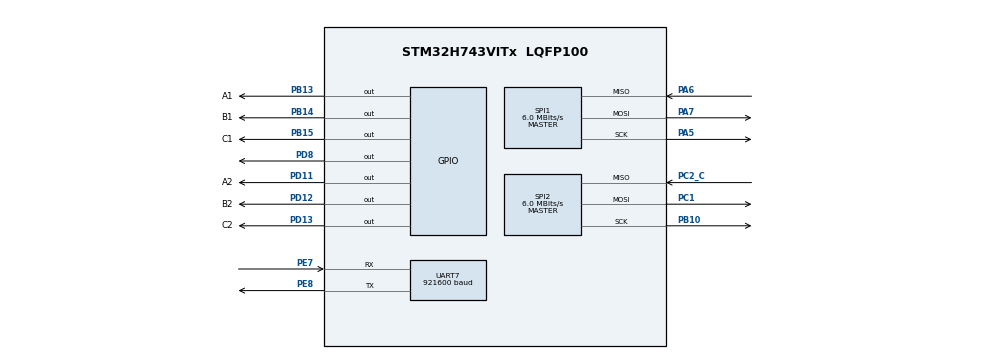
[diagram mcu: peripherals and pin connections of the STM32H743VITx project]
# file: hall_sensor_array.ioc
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CORTEX_M7.default_mode_Activation=1
Dma.Request0=UART7_TX
Dma.Request1=SPI1_RX
Dma.Request2=SPI2_RX
Dma.SPI1_RX.1.Direction=DMA_PERIPH_TO_MEMORY
Dma.SPI1_RX.1.EventEnable=DISABLE
Dma.SPI1_RX.1.FIFOMode=DMA_FIFOMODE_DISABLE
Dma.SPI1_RX.1.Instance=DMA1_Stream0
Dma.SPI1_RX.1.MemDataAlignment=DMA_MDATAALIGN_BYTE
Dma.SPI1_RX.1.MemInc=DMA_MINC_ENABLE
Dma.SPI1_RX.1.Mode=DMA_NORMAL
Dma.SPI1_RX.1.PeriphDataAlignment=DMA_PDATAALIGN_BYTE
Dma.SPI1_RX.1.PeriphInc=DMA_PINC_DISABLE
Dma.SPI1_RX.1.Polarity=HAL_DMAMUX_REQ_GEN_RISING
Dma.SPI1_RX.1.Priority=DMA_PRIORITY_LOW
Dma.SPI1_RX.1.RequestNumber=1
Dma.SPI1_RX.1.SignalID=NONE
Dma.SPI1_RX.1.SyncEnable=DISABLE
Dma.SPI1_RX.1.SyncPolarity=HAL_DMAMUX_SYNC_NO_EVENT
Dma.SPI1_RX.1.SyncRequestNumber=1
Dma.SPI1_RX.1.SyncSignalID=NONE
Dma.SPI2_RX.2.Direction=DMA_PERIPH_TO_MEMORY
Dma.SPI2_RX.2.EventEnable=DISABLE
Dma.SPI2_RX.2.FIFOMode=DMA_FIFOMODE_DISABLE
Dma.SPI2_RX.2.Instance=DMA1_Stream1
Dma.SPI2_RX.2.MemDataAlignment=DMA_MDATAALIGN_BYTE
Dma.SPI2_RX.2.MemInc=DMA_MINC_ENABLE
Dma.SPI2_RX.2.Mode=DMA_NORMAL
Dma.SPI2_RX.2.PeriphDataAlignment=DMA_PDATAALIGN_BYTE
Dma.SPI2_RX.2.PeriphInc=DMA_PINC_DISABLE
Dma.SPI2_RX.2.Polarity=HAL_DMAMUX_REQ_GEN_RISING
Dma.SPI2_RX.2.Priority=DMA_PRIORITY_LOW
Dma.SPI2_RX.2.RequestNumber=1
Dma.SPI2_RX.2.SignalID=NONE
Dma.SPI2_RX.2.SyncEnable=DISABLE
Dma.SPI2_RX.2.SyncPolarity=HAL_DMAMUX_SYNC_NO_EVENT
Dma.SPI2_RX.2.SyncRequestNumber=1
Dma.SPI2_RX.2.SyncSignalID=NONE
Dma.UART7_TX.0.Direction=DMA_MEMORY_TO_PERIPH
Dma.UART7_TX.0.EventEnable=DISABLE
Dma.UART7_TX.0.FIFOMode=DMA_FIFOMODE_DISABLE
Dma.UART7_TX.0.Instance=DMA1_Stream2
Dma.UART7_TX.0.MemDataAlignment=DMA_MDATAALIGN_BYTE
Dma.UART7_TX.0.MemInc=DMA_MINC_ENABLE
Dma.UART7_TX.0.Mode=DMA_NORMAL
Dma.UART7_TX.0.PeriphDataAlignment=DMA_PDATAALIGN_BYTE
Dma.UART7_TX.0.PeriphInc=DMA_PINC_DISABLE
Dma.UART7_TX.0.Polarity=HAL_DMAMUX_REQ_GEN_RISING
Dma.UART7_TX.0.Priority=DMA_PRIORITY_LOW
Dma.UART7_TX.0.RequestNumber=1
Dma.UART7_TX.0.SignalID=NONE
Dma.UART7_TX.0.SyncEnable=DISABLE
Dma.UART7_TX.0.SyncPolarity=HAL_DMAMUX_SYNC_NO_EVENT
Dma.UART7_TX.0.SyncRequestNumber=1
Dma.UART7_TX.0.SyncSignalID=NONE
Mcu.Family=STM32H7
Mcu.Name=STM32H743VITx
Mcu.Package=LQFP100
NVIC.DMA1_Stream0_IRQn=true\:0\:0\:false\:false\:true\:false\:true\:true
NVIC.DMA1_Stream1_IRQn=true\:0\:0\:false\:false\:true\:false\:true\:true
NVIC.DMA1_Stream2_IRQn=true\:0\:0\:false\:false\:true\:false\:true\:true
NVIC.PriorityGroup=NVIC_PRIORITYGROUP_4
NVIC.SPI1_IRQn=true\:0\:0\:false\:false\:true\:false\:true\:true
NVIC.SPI2_IRQn=true\:0\:0\:false\:false\:true\:false\:true\:true
NVIC.UART7_IRQn=true\:0\:0\:false\:false\:true\:true\:true\:true
PA13\ (JTMS/SWDIO).Mode=Serial_Wire
PA13\ (JTMS/SWDIO).Signal=DEBUG_JTMS-SWDIO
PA14\ (JTCK/SWCLK).Mode=Serial_Wire
PA14\ (JTCK/SWCLK).Signal=DEBUG_JTCK-SWCLK
PA5.GPIO_Speed=GPIO_SPEED_FREQ_VERY_HIGH
PA5.Mode=Full_Duplex_Master
PA5.Signal=SPI1_SCK
PA6.GPIO_Speed=GPIO_SPEED_FREQ_VERY_HIGH
PA6.Mode=Full_Duplex_Master
PA6.Signal=SPI1_MISO
PA7.GPIO_Speed=GPIO_SPEED_FREQ_VERY_HIGH
PA7.Mode=Full_Duplex_Master
PA7.Signal=SPI1_MOSI
PB10.GPIO_Speed=GPIO_SPEED_FREQ_VERY_HIGH
PB10.Mode=Full_Duplex_Master
PB10.Signal=SPI2_SCK
PB13.GPIO_Label=A1
PB13.Signal=GPIO_Output
PB14.GPIO_Label=B1
PB14.Signal=GPIO_Output
PB15.GPIO_Label=C1
PB15.Signal=GPIO_Output
PC1.GPIO_Speed=GPIO_SPEED_FREQ_VERY_HIGH
PC1.Mode=Full_Duplex_Master
PC1.Signal=SPI2_MOSI
PC2_C.GPIO_Speed=GPIO_SPEED_FREQ_VERY_HIGH
PC2_C.Mode=Full_Duplex_Master
PC2_C.Signal=SPI2_MISO
PD11.GPIO_Label=A2
PD11.GPIO_PuPd=GPIO_PULLDOWN
PD11.Signal=GPIO_Output
PD12.GPIO_Label=B2
PD12.GPIO_PuPd=GPIO_PULLDOWN
PD12.Signal=GPIO_Output
PD13.GPIO_Label=C2
PD13.GPIO_PuPd=GPIO_PULLDOWN
PD13.Signal=GPIO_Output
PD8.Signal=GPIO_Output
PE7.Mode=Asynchronous
PE7.Signal=UART7_RX
PE8.Mode=Asynchronous
PE8.Signal=UART7_TX
PH0-OSC_IN\ (PH0).Mode=HSE-External-Oscillator
PH0-OSC_IN\ (PH0).Signal=RCC_OSC_IN
PH1-OSC_OUT\ (PH1).Mode=HSE-External-Oscillator
PH1-OSC_OUT\ (PH1).Signal=RCC_OSC_OUT
ProjectManager.HeapSize=0x200
ProjectManager.StackSize=0x400
ProjectManager.TargetToolchain=STM32CubeIDE
RCC.ADCFreq_Value=129000000
RCC.APB1Freq_Value=120000000
RCC.APB2Freq_Value=120000000
RCC.APB3Freq_Value=120000000
RCC.APB4Freq_Value=120000000
RCC.CKPERSourceSelection=RCC_CLKPSOURCE_HSE
RCC.CortexFreq_Value=480000000
RCC.D1PPRE=RCC_APB3_DIV2
RCC.D2PPRE1=RCC_APB1_DIV2
RCC.D2PPRE2=RCC_APB2_DIV2
RCC.D3PPRE=RCC_APB4_DIV2
RCC.DIVM1=4
RCC.DIVN1=60
RCC.DIVQ1=5
RCC.HCLKFreq_Value=240000000
RCC.HPRE=RCC_HCLK_DIV2
RCC.PLL2FRACN=0
RCC.PLL3FRACN=0
RCC.PLLFRACN=0
RCC.SYSCLKFreq_VALUE=480000000
RCC.SYSCLKSource=RCC_SYSCLKSOURCE_PLLCLK
RCC.USBFreq_Value=192000000
SPI1.BaudRatePrescaler=SPI_BAUDRATEPRESCALER_32
SPI1.CalculateBaudRate=6.0 MBits/s
SPI1.DataSize=SPI_DATASIZE_8BIT
SPI1.Direction=SPI_DIRECTION_2LINES
SPI1.Mode=SPI_MODE_MASTER
SPI1.VirtualType=VM_MASTER
SPI2.BaudRatePrescaler=SPI_BAUDRATEPRESCALER_32
SPI2.CalculateBaudRate=6.0 MBits/s
SPI2.DataSize=SPI_DATASIZE_8BIT
SPI2.Direction=SPI_DIRECTION_2LINES
SPI2.Mode=SPI_MODE_MASTER
SPI2.VirtualType=VM_MASTER
TIM1.Prescaler=119
UART7.BaudRate=921600
VP_MEMORYMAP_VS_MEMORYMAP.Mode=CurAppReg
VP_TIM1_VS_ClockSourceINT.Mode=Internal
board=custom

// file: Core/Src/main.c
/* USER CODE BEGIN Header */
/* USER CODE END Header */
#include "main.h"

/* USER CODE BEGIN Includes */
#include <TMAG5170.h>
#include <stdio.h>
#include <string.h>
/* USER CODE END Includes */

/* USER CODE BEGIN PTD */
typedef struct { err_t err; uint32_t tx, rx; } fail_info_t;
/* USER CODE END PTD */

/* USER CODE BEGIN PD */
#define N_BUS        2                  /* SPI1, SPI2 */
#define N_PER_BUS    8                  /* mỗi decoder 3->8 chọn 8 cảm biến */
#define N_SENSOR     (N_BUS * N_PER_BUS)
#define TX_BUF_SIZE  512                /* dòng dài nhất ~403 byte */

/* USER CODE END PD */

SPI_HandleTypeDef hspi1;
SPI_HandleTypeDef hspi2;
DMA_HandleTypeDef hdma_spi1_rx;
DMA_HandleTypeDef hdma_spi2_rx;

TIM_HandleTypeDef htim1;

UART_HandleTypeDef huart7;
DMA_HandleTypeDef hdma_uart7_tx;

/* USER CODE BEGIN PV */
static const struct { GPIO_TypeDef *port; uint16_t pin; } cs_pin[2][3] = {
    { { A1_GPIO_Port, A1_Pin }, { B1_GPIO_Port, B1_Pin }, { C1_GPIO_Port, C1_Pin } },   /* decoder 1: A1, B1, C1 */
    { { A2_GPIO_Port, A2_Pin }, { B2_GPIO_Port, B2_Pin }, { C2_GPIO_Port, C2_Pin } },   /* decoder 2: A2, B2, C2 */
};
static uint8_t cs_addr[2];
static TMAG5170_t tmag[2];          /* 1 struct / bus SPI (16 cảm biến cùng cấu hình) */
static uint8_t    want_addr[2];     /* cảm biến đang nhắm tới trên mỗi bus */
static bool       cs_active[2];     /* true = đang giữ CS của want_addr ở mức thấp */
static int16_t    raw_code[N_SENSOR][3];
float Bx[4][4], By[4][4], Bz[4][4];     /* từ trường (mT); cảm biến i -> [i/4][i%4], i = bus*8 + addr */
static uint16_t err_mask;               /* bit i = cảm biến i đọc lỗi ở lần quét gần nhất */
static uint32_t frame_no;

static fail_info_t init_info[N_SENSOR], scan_info[N_SENSOR];
static fail_info_t *cur_info = init_info;

uint32_t t0, scan_us;

static char     tx_buf[2][TX_BUF_SIZE] __attribute__((aligned(32)));
static uint8_t  tx_sel;                 /* buffer sẽ được định dạng ở lần gọi kế tiếp */
static volatile uint8_t tx_busy;        /* 1 = DMA đang gửi */
static uint32_t tx_timeouts, tx_drops, tx_polled;  /* tx_timeouts tăng => ngắt UART7 chưa bật (xem ghi chú) */
volatile uint32_t prof_scan_us, prof_send_us, prof_cycle_us;
/* USER CODE END PV */

void SystemClock_Config(void);
static void MPU_Config(void);
static void MX_GPIO_Init(void);
static void MX_DMA_Init(void);
static void MX_SPI1_Init(void);
static void MX_SPI2_Init(void);
static void MX_UART7_Init(void);
static void MX_TIM1_Init(void);
/* USER CODE BEGIN PFP */
void Write_addr(uint8_t bus, uint8_t addr);
uint8_t step(uint8_t bus);
uint8_t Sensor_select(uint8_t bus, uint8_t addr);
void Decoder_Init(void);

/* USER CODE END PFP */

/* USER CODE BEGIN 0 */
static inline uint8_t gray_of_step(uint8_t s) { return (uint8_t)((s ^ (s >> 1)) & 7u); }
static inline uint8_t step_of_gray(uint8_t g) { return (uint8_t)((g ^ (g >> 1) ^ (g >> 2)) & 7u); }

void Write_addr(uint8_t bus, uint8_t addr)
{
    for (int k = 0; k < 3; k++)         /* chân không đổi được ghi lại cùng mức -> không có chuyển mạch */
        HAL_GPIO_WritePin(cs_pin[bus][k].port, cs_pin[bus][k].pin,
                          (addr & (1u << k)) ? GPIO_PIN_SET : GPIO_PIN_RESET);
    cs_addr[bus] = (uint8_t)(addr & 7u);
}

void Decoder_Init(void)
{
	for (uint8_t b = 0; b < 2; b++) Write_addr(b, 0);
}

uint8_t step(uint8_t bus)
{
    uint8_t s = step_of_gray(cs_addr[bus]);
    uint8_t a = gray_of_step((uint8_t)((s + 1u) & 7u));
    Write_addr(bus, a);
    return a;
}

uint8_t Sensor_select(uint8_t bus, uint8_t addr)
{
	   addr &= 7u;
	   uint8_t steps = 0;
	   while (cs_addr[bus] != addr)
	   {
		   step(bus);
		   steps++;
	   }
	   return steps;
}

static void cs_ring(uint8_t bus, bool select)
{
	if (select) {
		Sensor_select(bus, want_addr[bus]);
		cs_active[bus] = true;
	} else if (cs_active[bus]) {
		step(bus);
		cs_active[bus] = false;
	}
}

static void cs_bus0(bool select) { cs_ring(0, select); }
static void cs_bus1(bool select) { cs_ring(1, select); }

static void us_timer_init(void)
{
    uint32_t clk = HAL_RCC_GetPCLK2Freq();                         /* APB2 */
    if (LL_RCC_GetAPB2Prescaler() != LL_RCC_APB2_DIV_1) clk *= 2u; /* clock timer = 2 x APB2 (TIMPRE = 0, mặc định) */
    __HAL_TIM_SET_PRESCALER(&htim1, clk / 1000000u - 1u);
    htim1.Instance->EGR = TIM_EGR_UG;                              /* nạp PSC ngay (đồng thời reset bộ đếm) */
    HAL_TIM_Base_Start(&htim1);                                    /* ARR = 65535 -> tràn mỗi 65.5 ms */
}

static void delay_us(uint16_t us)                                  /* us <= 60000 */
{
    uint32_t tick0 = HAL_GetTick();
    uint16_t t0 = (uint16_t)__HAL_TIM_GET_COUNTER(&htim1);
    while ((uint16_t)((uint16_t)__HAL_TIM_GET_COUNTER(&htim1) - t0) < us) {
        if ((HAL_GetTick() - tick0) > 5u) break;                   /* TIM1 không chạy (chưa bật clock) -> không treo */
    }
}

static void uart_puts(const char *s)
{
    HAL_UART_Transmit(&huart7, (uint8_t *)s, (uint16_t)strlen(s), 100);
}

/* ---------- Quét theo vòng ----------
 * Mỗi cảm biến nhận ĐÚNG 1 khung SPI cho mỗi vòng: sau khung, cs(false) bước sang cảm biến kế và
 * chính cảm biến đó được chọn cho khung kế tiếp -> không có cảm biến nào bị kéo CS mà không có clock
 * (tránh cờ FRAME_STAT của TMAG5170). Một vòng luôn đủ 8 khung nên con trỏ decoder quay về chỗ cũ. */
typedef err_t (*lap_job_t)(TMAG5170_t *d, uint8_t idx, uint8_t arg);

static uint16_t ring_lap(uint8_t bus, lap_job_t job, uint8_t arg)
{
    uint16_t fail = 0;                                        /* bit i = cảm biến i lỗi */
    uint8_t  s0   = step_of_gray(cs_addr[bus]);               /* bắt đầu từ chỗ con trỏ đang đứng */

    for (uint8_t k = 0; k < N_PER_BUS; k++) {
        uint8_t addr = gray_of_step((uint8_t)((s0 + k) & 7u));
        uint8_t idx  = (uint8_t)(bus * N_PER_BUS + addr);     /* idx = bus*8 + địa chỉ decoder */
        want_addr[bus] = addr;
        if (job(&tmag[bus], idx, arg) != TMAG_OK) fail |= (uint16_t)(1u << idx);
    }
    return fail;
}

static err_t job_init   (TMAG5170_t *d, uint8_t idx, uint8_t step) { (void)idx; return TMAG5170_InitStep(d, step); }
static err_t job_trigger(TMAG5170_t *d, uint8_t idx, uint8_t arg)  { (void)idx; (void)arg; return TMAG5170_Trigger(d); }
static err_t job_axis   (TMAG5170_t *d, uint8_t idx, uint8_t axis) { return TMAG5170_ReadAxis(d, axis, &raw_code[idx][axis]); }

/* Khởi tạo 16 cảm biến: từng bước cấu hình chạy hết một vòng trên bus 0 rồi bus 1 */
static void TMAG5170_InitAll(void)
{
    uint16_t fail = 0;
    char msg[32];

    HAL_Delay(2);                                             /* > tstart_power_up (tối đa 500 us) */
    for (uint8_t b = 0; b < N_BUS; b++)
        TMAG5170_InitBegin(&tmag[b], b ? &hspi2 : &hspi1, b ? cs_bus1 : cs_bus0, TRIGGER);

    for (uint8_t step = 0; step < TMAG5170_INIT_STEPS; step++)
        for (uint8_t b = 0; b < N_BUS; b++)
            fail |= ring_lap(b, job_init, step);

    if (fail) {
        snprintf(msg, sizeof msg, "INIT_FAIL,%04X\r\n", (unsigned)fail);   /* bit i = cảm biến i */
        uart_puts(msg);
    }
}

/* Quét 16 cảm biến -> Bx, By, Bz (mT). Cảm biến lỗi: giữ giá trị cũ, bật bit trong err_mask.
 * Vòng 1: trigger cả 16 cảm biến; chờ chuyển đổi; vòng 2..4: đọc X, Y, Z. */
static void Scan16(void)
{
    uint16_t fail = 0;

    cur_info = scan_info;
     memset(scan_info, 0, sizeof scan_info);                   /* chỉ giữ lỗi của lần quét này */
     for (uint8_t b = 0; b < N_BUS; b++) fail |= ring_lap(b, job_trigger, 0);
     delay_us(3000);                                  /* ~2.44 ms với 32x, 3 trục */
     for (uint8_t axis = 0; axis < 3; axis++)
         for (uint8_t b = 0; b < N_BUS; b++) fail |= ring_lap(b, job_axis, axis);

    for (uint8_t i = 0; i < N_SENSOR; i++) {
        if (fail & (1u << i)) continue;
        const TMAG5170_t *d = &tmag[i / N_PER_BUS];
        Bx[i / 4][i % 4] = TMAG5170_CodeToMT(d, raw_code[i][0]);
        By[i / 4][i % 4] = TMAG5170_CodeToMT(d, raw_code[i][1]);
        Bz[i / 4][i % 4] = TMAG5170_CodeToMT(d, raw_code[i][2]);
    }
    err_mask = fail;
}

static int append_array(char* buf, int n, float a[4][4])
{
    for (int r = 0; r < 4; r++) {
        for (int c = 0; c < 4; c++) {
            if (n >= TX_BUF_SIZE) return n;
            float  x  = a[r][c] * 1000.0f;                       /* mT -> uT */
            long   ut = (long)(x + (x >= 0.0f ? 0.5f : -0.5f));  /* làm tròn, không cần printf float */
            n += snprintf(buf + n, TX_BUF_SIZE - n, ",%ld", ut);
        }
    }
    return n;
}

static void uart_wait_idle(void)
{
    uint32_t t0 = HAL_GetTick();
    while (tx_busy) {
        if (((DMA_Stream_TypeDef *)hdma_uart7_tx.Instance)->NDTR == 0u && __HAL_UART_GET_FLAG(&huart7, UART_FLAG_TC)) {
            if (tx_busy) {                                    /* callback chưa tới */
                HAL_UART_AbortTransmit(&huart7);
                tx_polled++;
                tx_busy = 0;
            }
            break;
        }
        if ((HAL_GetTick() - t0) > 100u) {
            HAL_UART_AbortTransmit(&huart7);
            tx_busy = 0;
            tx_timeouts++;
            break;
        }
    }
}

/* 1 dòng / lần quét:  B,<số khung>,<err_mask hex>,Bx[0][0..3],Bx[1][..],...,By...,Bz...   (đơn vị uT) */
static void Send_UART(void)
{
    char *buf = tx_buf[tx_sel];
    int n = snprintf(buf, TX_BUF_SIZE, "B,%lu,%04X", (unsigned long)frame_no++, (unsigned)err_mask);
    n = append_array(buf, n, Bx);
    n = append_array(buf, n, By);
    n = append_array(buf, n, Bz);
    if (n > TX_BUF_SIZE - 3) n = TX_BUF_SIZE - 3;
    buf[n++] = '\r';
    buf[n++] = '\n';

    uart_wait_idle();
    tx_busy = 1;
    if (HAL_UART_Transmit_DMA(&huart7, (uint8_t *)buf, (uint16_t)n) != HAL_OK) {
        tx_busy = 0;
        tx_drops++;
        return;
    }
    tx_sel ^= 1u;
}
/* USER CODE END 0 */

int main(void)
{

  /* MPU Configuration--------------------------------------------------------*/
  MPU_Config();

  /* MCU Configuration--------------------------------------------------------*/

  /* Reset of all peripherals, Initializes the Flash interface and the Systick. */
  HAL_Init();

  /* Configure the system clock */
  SystemClock_Config();

  /* Initialize all configured peripherals */
  MX_GPIO_Init();
  MX_DMA_Init();
  MX_SPI1_Init();
  MX_SPI2_Init();
  MX_UART7_Init();
  MX_TIM1_Init();
  /* USER CODE BEGIN 2 */
  Decoder_Init();
  us_timer_init();
  CoreDebug->DEMCR |= CoreDebug_DEMCR_TRCENA_Msk;     /* bộ đếm chu kỳ để đo thời gian */
  DWT->LAR = 0xC5ACCE55;
  DWT->CYCCNT = 0;
  DWT->CTRL |= DWT_CTRL_CYCCNTENA_Msk;
  HAL_NVIC_SetPriority(UART7_IRQn, 1, 0);             /* đảm bảo ngắt UART7 được bật (báo xong TX DMA) */
  HAL_NVIC_EnableIRQ(UART7_IRQn);
  TMAG5170_InitAll();
  /* USER CODE END 2 */

  /* Infinite loop */
  /* USER CODE BEGIN WHILE */
  while(1)
  {
      static uint32_t c_prev;
      uint32_t k  = SystemCoreClock / 1000000u;       /* chu kỳ / us */
      uint32_t c0 = DWT->CYCCNT;
      Scan16();
      uint32_t c1 = DWT->CYCCNT;
      Send_UART();
      uint32_t c2 = DWT->CYCCNT;
      prof_scan_us  = (c1 - c0) / k;                  /* chỉ Scan16() */
      prof_send_us  = (c2 - c1) / k;                  /* định dạng + chờ khung trước + bật DMA */
      prof_cycle_us = (c0 - c_prev) / k;              /* từ đầu vòng trước tới đầu vòng này */
      c_prev = c0;
    /* USER CODE END WHILE */

  }
}

void SystemClock_Config(void)
{
  LL_FLASH_SetLatency(LL_FLASH_LATENCY_4);
  while(LL_FLASH_GetLatency()!= LL_FLASH_LATENCY_4)
  {
  }
  LL_PWR_ConfigSupply(LL_PWR_LDO_SUPPLY);
  LL_PWR_SetRegulVoltageScaling(LL_PWR_REGU_VOLTAGE_SCALE0);
  while (LL_PWR_IsActiveFlag_VOS() == 0)
  {
  }
  LL_RCC_HSI_Enable();

   /* Wait till HSI is ready */
  while(LL_RCC_HSI_IsReady() != 1)
  {

  }
  LL_RCC_HSI_SetCalibTrimming(64);
  LL_RCC_HSI_SetDivider(LL_RCC_HSI_DIV1);
  LL_RCC_PLL_SetSource(LL_RCC_PLLSOURCE_HSI);
  LL_RCC_PLL1P_Enable();
  LL_RCC_PLL1Q_Enable();
  LL_RCC_PLL1R_Enable();
  LL_RCC_PLL1_SetVCOInputRange(LL_RCC_PLLINPUTRANGE_8_16);
  LL_RCC_PLL1_SetVCOOutputRange(LL_RCC_PLLVCORANGE_WIDE);
  LL_RCC_PLL1_SetM(4);
  LL_RCC_PLL1_SetN(60);
  LL_RCC_PLL1_SetP(2);
  LL_RCC_PLL1_SetQ(5);
  LL_RCC_PLL1_SetR(2);
  LL_RCC_PLL1_Enable();

   /* Wait till PLL is ready */
  while(LL_RCC_PLL1_IsReady() != 1)
  {
  }

   /* Intermediate AHB prescaler 2 when target frequency clock is higher than 80 MHz */
   LL_RCC_SetAHBPrescaler(LL_RCC_AHB_DIV_2);

  LL_RCC_SetSysClkSource(LL_RCC_SYS_CLKSOURCE_PLL1);

   /* Wait till System clock is ready */
  while(LL_RCC_GetSysClkSource() != LL_RCC_SYS_CLKSOURCE_STATUS_PLL1)
  {

  }
  LL_RCC_SetSysPrescaler(LL_RCC_SYSCLK_DIV_1);
  LL_RCC_SetAHBPrescaler(LL_RCC_AHB_DIV_2);
  LL_RCC_SetAPB1Prescaler(LL_RCC_APB1_DIV_2);
  LL_RCC_SetAPB2Prescaler(LL_RCC_APB2_DIV_2);
  LL_RCC_SetAPB3Prescaler(LL_RCC_APB3_DIV_2);
  LL_RCC_SetAPB4Prescaler(LL_RCC_APB4_DIV_2);
  LL_SetSystemCoreClock(480000000);

   /* Update the time base */
  if (HAL_InitTick (TICK_INT_PRIORITY) != HAL_OK)
  {
    Error_Handler();
  }
}

static void MX_SPI1_Init(void)
{

  /* SPI1 parameter configuration*/
  hspi1.Instance = SPI1;
  hspi1.Init.Mode = SPI_MODE_MASTER;
  hspi1.Init.Direction = SPI_DIRECTION_2LINES;
  hspi1.Init.DataSize = SPI_DATASIZE_8BIT;
  hspi1.Init.CLKPolarity = SPI_POLARITY_LOW;
  hspi1.Init.CLKPhase = SPI_PHASE_1EDGE;
  hspi1.Init.NSS = SPI_NSS_SOFT;
  hspi1.Init.BaudRatePrescaler = SPI_BAUDRATEPRESCALER_32;
  hspi1.Init.FirstBit = SPI_FIRSTBIT_MSB;
  hspi1.Init.TIMode = SPI_TIMODE_DISABLE;
  hspi1.Init.CRCCalculation = SPI_CRCCALCULATION_DISABLE;
  hspi1.Init.CRCPolynomial = 0x0;
  hspi1.Init.NSSPMode = SPI_NSS_PULSE_ENABLE;
  hspi1.Init.NSSPolarity = SPI_NSS_POLARITY_LOW;
  hspi1.Init.FifoThreshold = SPI_FIFO_THRESHOLD_01DATA;
  hspi1.Init.TxCRCInitializationPattern = SPI_CRC_INITIALIZATION_ALL_ZERO_PATTERN;
  hspi1.Init.RxCRCInitializationPattern = SPI_CRC_INITIALIZATION_ALL_ZERO_PATTERN;
  hspi1.Init.MasterSSIdleness = SPI_MASTER_SS_IDLENESS_00CYCLE;
  hspi1.Init.MasterInterDataIdleness = SPI_MASTER_INTERDATA_IDLENESS_00CYCLE;
  hspi1.Init.MasterReceiverAutoSusp = SPI_MASTER_RX_AUTOSUSP_DISABLE;
  hspi1.Init.MasterKeepIOState = SPI_MASTER_KEEP_IO_STATE_DISABLE;
  hspi1.Init.IOSwap = SPI_IO_SWAP_DISABLE;
  if (HAL_SPI_Init(&hspi1) != HAL_OK)
  {
    Error_Handler();
  }

}

static void MX_SPI2_Init(void)
{

  /* SPI2 parameter configuration*/
  hspi2.Instance = SPI2;
  hspi2.Init.Mode = SPI_MODE_MASTER;
  hspi2.Init.Direction = SPI_DIRECTION_2LINES;
  hspi2.Init.DataSize = SPI_DATASIZE_8BIT;
  hspi2.Init.CLKPolarity = SPI_POLARITY_LOW;
  hspi2.Init.CLKPhase = SPI_PHASE_1EDGE;
  hspi2.Init.NSS = SPI_NSS_SOFT;
  hspi2.Init.BaudRatePrescaler = SPI_BAUDRATEPRESCALER_32;
  hspi2.Init.FirstBit = SPI_FIRSTBIT_MSB;
  hspi2.Init.TIMode = SPI_TIMODE_DISABLE;
  hspi2.Init.CRCCalculation = SPI_CRCCALCULATION_DISABLE;
  hspi2.Init.CRCPolynomial = 0x0;
  hspi2.Init.NSSPMode = SPI_NSS_PULSE_ENABLE;
  hspi2.Init.NSSPolarity = SPI_NSS_POLARITY_LOW;
  hspi2.Init.FifoThreshold = SPI_FIFO_THRESHOLD_01DATA;
  hspi2.Init.TxCRCInitializationPattern = SPI_CRC_INITIALIZATION_ALL_ZERO_PATTERN;
  hspi2.Init.RxCRCInitializationPattern = SPI_CRC_INITIALIZATION_ALL_ZERO_PATTERN;
  hspi2.Init.MasterSSIdleness = SPI_MASTER_SS_IDLENESS_00CYCLE;
  hspi2.Init.MasterInterDataIdleness = SPI_MASTER_INTERDATA_IDLENESS_00CYCLE;
  hspi2.Init.MasterReceiverAutoSusp = SPI_MASTER_RX_AUTOSUSP_DISABLE;
  hspi2.Init.MasterKeepIOState = SPI_MASTER_KEEP_IO_STATE_DISABLE;
  hspi2.Init.IOSwap = SPI_IO_SWAP_DISABLE;
  if (HAL_SPI_Init(&hspi2) != HAL_OK)
  {
    Error_Handler();
  }

}

static void MX_TIM1_Init(void)
{

  TIM_ClockConfigTypeDef sClockSourceConfig = {0};
  TIM_MasterConfigTypeDef sMasterConfig = {0};

  htim1.Instance = TIM1;
  htim1.Init.Prescaler = 119;
  htim1.Init.CounterMode = TIM_COUNTERMODE_UP;
  htim1.Init.Period = 65535;
  htim1.Init.ClockDivision = TIM_CLOCKDIVISION_DIV1;
  htim1.Init.RepetitionCounter = 0;
  htim1.Init.AutoReloadPreload = TIM_AUTORELOAD_PRELOAD_DISABLE;
  if (HAL_TIM_Base_Init(&htim1) != HAL_OK)
  {
    Error_Handler();
  }
  sClockSourceConfig.ClockSource = TIM_CLOCKSOURCE_INTERNAL;
  if (HAL_TIM_ConfigClockSource(&htim1, &sClockSourceConfig) != HAL_OK)
  {
    Error_Handler();
  }
  sMasterConfig.MasterOutputTrigger = TIM_TRGO_RESET;
  sMasterConfig.MasterOutputTrigger2 = TIM_TRGO2_RESET;
  sMasterConfig.MasterSlaveMode = TIM_MASTERSLAVEMODE_DISABLE;
  if (HAL_TIMEx_MasterConfigSynchronization(&htim1, &sMasterConfig) != HAL_OK)
  {
    Error_Handler();
  }

}

static void MX_UART7_Init(void)
{

  huart7.Instance = UART7;
  huart7.Init.BaudRate = 921600;
  huart7.Init.WordLength = UART_WORDLENGTH_8B;
  huart7.Init.StopBits = UART_STOPBITS_1;
  huart7.Init.Parity = UART_PARITY_NONE;
  huart7.Init.Mode = UART_MODE_TX_RX;
  huart7.Init.HwFlowCtl = UART_HWCONTROL_NONE;
  huart7.Init.OverSampling = UART_OVERSAMPLING_16;
  huart7.Init.OneBitSampling = UART_ONE_BIT_SAMPLE_DISABLE;
  huart7.Init.ClockPrescaler = UART_PRESCALER_DIV1;
  huart7.AdvancedInit.AdvFeatureInit = UART_ADVFEATURE_NO_INIT;
  if (HAL_UART_Init(&huart7) != HAL_OK)
  {
    Error_Handler();
  }
  if (HAL_UARTEx_SetTxFifoThreshold(&huart7, UART_TXFIFO_THRESHOLD_1_8) != HAL_OK)
  {
    Error_Handler();
  }
  if (HAL_UARTEx_SetRxFifoThreshold(&huart7, UART_RXFIFO_THRESHOLD_1_8) != HAL_OK)
  {
    Error_Handler();
  }
  if (HAL_UARTEx_DisableFifoMode(&huart7) != HAL_OK)
  {
    Error_Handler();
  }

}

static void MX_DMA_Init(void)
{

  /* DMA controller clock enable */
  __HAL_RCC_DMA1_CLK_ENABLE();

  /* DMA interrupt init */
  /* DMA1_Stream0_IRQn interrupt configuration */
  HAL_NVIC_SetPriority(DMA1_Stream0_IRQn, 0, 0);
  HAL_NVIC_EnableIRQ(DMA1_Stream0_IRQn);
  /* DMA1_Stream1_IRQn interrupt configuration */
  HAL_NVIC_SetPriority(DMA1_Stream1_IRQn, 0, 0);
  HAL_NVIC_EnableIRQ(DMA1_Stream1_IRQn);
  /* DMA1_Stream2_IRQn interrupt configuration */
  HAL_NVIC_SetPriority(DMA1_Stream2_IRQn, 0, 0);
  HAL_NVIC_EnableIRQ(DMA1_Stream2_IRQn);

}

static void MX_GPIO_Init(void)
{
  LL_GPIO_InitTypeDef GPIO_InitStruct = {0};

  /* GPIO Ports Clock Enable */
  LL_AHB4_GRP1_EnableClock(LL_AHB4_GRP1_PERIPH_GPIOH);
  LL_AHB4_GRP1_EnableClock(LL_AHB4_GRP1_PERIPH_GPIOC);
  LL_AHB4_GRP1_EnableClock(LL_AHB4_GRP1_PERIPH_GPIOA);
  LL_AHB4_GRP1_EnableClock(LL_AHB4_GRP1_PERIPH_GPIOE);
  LL_AHB4_GRP1_EnableClock(LL_AHB4_GRP1_PERIPH_GPIOB);
  LL_AHB4_GRP1_EnableClock(LL_AHB4_GRP1_PERIPH_GPIOD);

  /**/
  LL_GPIO_ResetOutputPin(GPIOB, A1_Pin|B1_Pin|C1_Pin);

  /**/
  LL_GPIO_ResetOutputPin(GPIOD, LL_GPIO_PIN_8|A2_Pin|B2_Pin|C2_Pin);

  /**/
  GPIO_InitStruct.Pin = A1_Pin|B1_Pin|C1_Pin;
  GPIO_InitStruct.Mode = LL_GPIO_MODE_OUTPUT;
  GPIO_InitStruct.Speed = LL_GPIO_SPEED_FREQ_LOW;
  GPIO_InitStruct.OutputType = LL_GPIO_OUTPUT_PUSHPULL;
  GPIO_InitStruct.Pull = LL_GPIO_PULL_NO;
  LL_GPIO_Init(GPIOB, &GPIO_InitStruct);

  /**/
  GPIO_InitStruct.Pin = LL_GPIO_PIN_8;
  GPIO_InitStruct.Mode = LL_GPIO_MODE_OUTPUT;
  GPIO_InitStruct.Speed = LL_GPIO_SPEED_FREQ_LOW;
  GPIO_InitStruct.OutputType = LL_GPIO_OUTPUT_PUSHPULL;
  GPIO_InitStruct.Pull = LL_GPIO_PULL_NO;
  LL_GPIO_Init(GPIOD, &GPIO_InitStruct);

  /**/
  GPIO_InitStruct.Pin = A2_Pin|B2_Pin|C2_Pin;
  GPIO_InitStruct.Mode = LL_GPIO_MODE_OUTPUT;
  GPIO_InitStruct.Speed = LL_GPIO_SPEED_FREQ_LOW;
  GPIO_InitStruct.OutputType = LL_GPIO_OUTPUT_PUSHPULL;
  GPIO_InitStruct.Pull = LL_GPIO_PULL_DOWN;
  LL_GPIO_Init(GPIOD, &GPIO_InitStruct);

}

 /* MPU Configuration */

void MPU_Config(void)
{

  /* Disables the MPU */
  LL_MPU_Disable();

  /** Initializes and configures the Region and the memory to be protected
  */
  LL_MPU_ConfigRegion(LL_MPU_REGION_NUMBER0, 0x87, 0x0, LL_MPU_REGION_SIZE_4GB|LL_MPU_TEX_LEVEL0|LL_MPU_REGION_NO_ACCESS|LL_MPU_INSTRUCTION_ACCESS_DISABLE|LL_MPU_ACCESS_SHAREABLE|LL_MPU_ACCESS_NOT_CACHEABLE|LL_MPU_ACCESS_NOT_BUFFERABLE);
  /* Enables the MPU */
  LL_MPU_Enable(LL_MPU_CTRL_PRIVILEGED_DEFAULT);

}

void Error_Handler(void)
{
}
